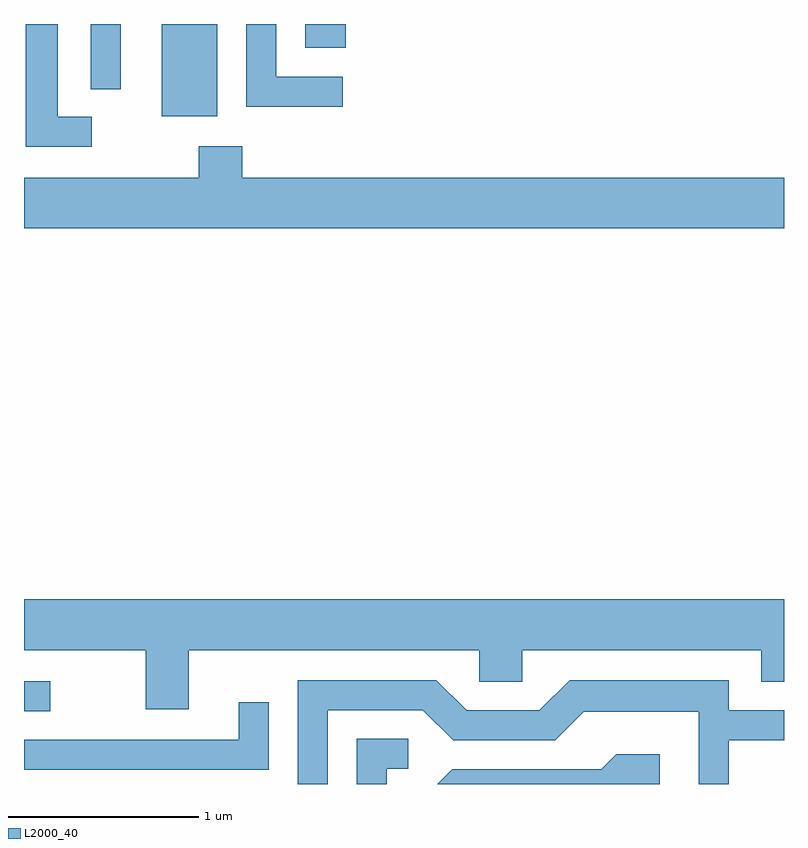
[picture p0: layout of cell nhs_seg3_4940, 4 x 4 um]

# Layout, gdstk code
import gdstk
lib = gdstk.Library(unit=1e-6, precision=1e-09)
def R(c, l, rs):  # rectangles x0, y0, x1, y1
    for r in rs: c.add(gdstk.rectangle(r[:2], r[2:], *l))
def P(c, l, *ps):  # polygons
    for p in ps: c.add(gdstk.Polygon(p, *l))
L2000_40 = (2000, 40)

nhs_seg3_4940 = lib.new_cell('nhs_seg3_4940')
R(nhs_seg3_4940, L2000_40, [(329.611,1212.276,329.748,1212.434), (330.336,1215.406,330.629,1215.892), (329.961,1215.548,330.119,1215.892), (331.091,1215.766,331.304,1215.892)])
P(nhs_seg3_4940, L2000_40, [(329.968,1215.404),(329.789,1215.404),(329.789,1215.892),(329.621,1215.892),(329.621,1215.246),(329.968,1215.246)],
  [(331.288,1215.614),(330.939,1215.614),(330.939,1215.892),(330.781,1215.892),(330.781,1215.456),(331.288,1215.456)],
  [(333.611,1215.084),(330.759,1215.084),(330.759,1215.249),(330.531,1215.249),(330.531,1215.084),(329.611,1215.084),(329.611,1214.816),(333.611,1214.816)],
  [(330.479,1212.596),(332.006,1212.596),(332.006,1212.431),(332.234,1212.431),(332.234,1212.596),(333.491,1212.596),(333.491,1212.431),(333.611,1212.431),(333.611,1212.864),(329.611,1212.864),(329.611,1212.596),(330.251,1212.596),(330.251,1212.286),(330.479,1212.286)],
  [(331.209,1212.281),(331.709,1212.281),(331.869,1212.121),(332.407,1212.121),(332.557,1212.271),(333.161,1212.271),(333.161,1211.892),(333.319,1211.892),(333.319,1212.121),(333.611,1212.121),(333.611,1212.279),(333.319,1212.279),(333.319,1212.439),(332.484,1212.439),(332.324,1212.279),(331.942,1212.279),(331.782,1212.439),(331.051,1212.439),(331.051,1211.892),(331.209,1211.892)],
  [(330.899,1212.323),(330.741,1212.323),(330.741,1212.124),(329.611,1212.124),(329.611,1211.966),(330.899,1211.966)],
  [(331.519,1211.971),(331.633,1211.971),(331.633,1212.129),(331.361,1212.129),(331.361,1211.892),(331.519,1211.892)],
  [(332.958,1212.049),(332.729,1212.049),(332.649,1211.969),(331.864,1211.969),(331.787,1211.892),(332.958,1211.892)])

lib.write_gds('nhs_seg3_4940.gds')
